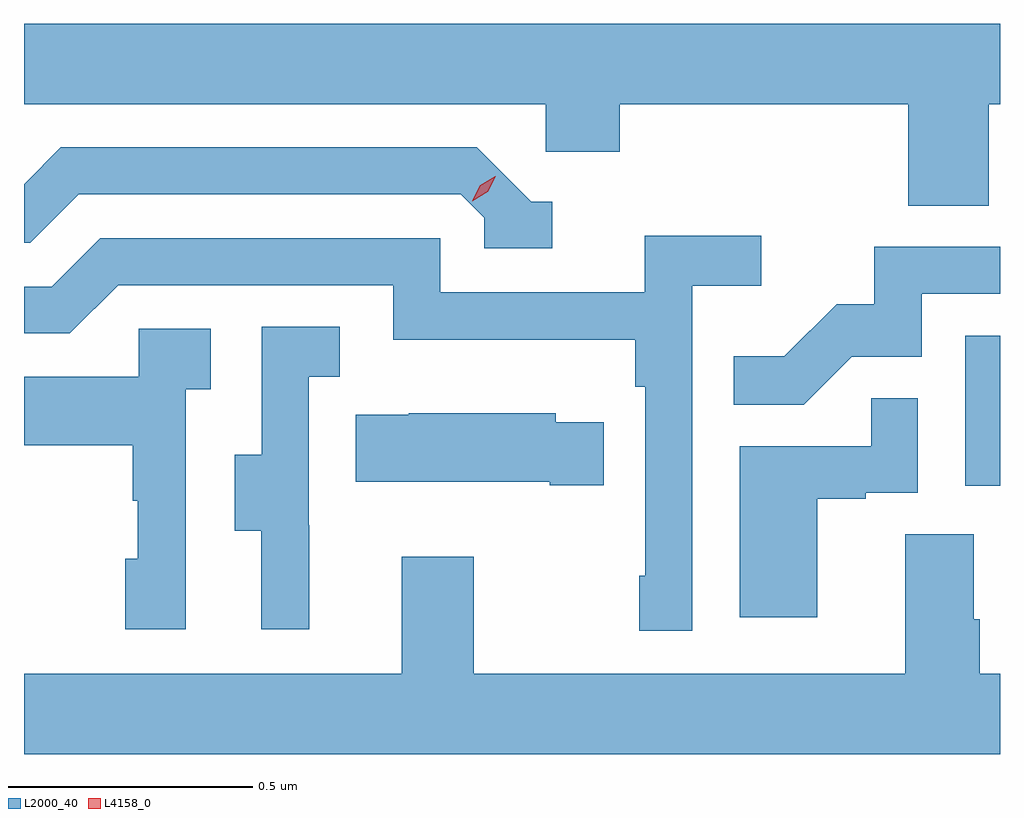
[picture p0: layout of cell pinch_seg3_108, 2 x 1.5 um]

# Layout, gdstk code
import gdstk
lib = gdstk.Library(unit=1e-6, precision=1e-09)
def R(c, l, rs):  # rectangles x0, y0, x1, y1
    for r in rs: c.add(gdstk.rectangle(r[:2], r[2:], *l))
def P(c, l, *ps):  # polygons
    for p in ps: c.add(gdstk.Polygon(p, *l))
L2000_40 = (2000, 40)
L4158_0 = (4158, 0)

pinch_seg3_108 = lib.new_cell('pinch_seg3_108')
R(pinch_seg3_108, L2000_40, [(1031.384,724.11,1031.455,724.417)])
P(pinch_seg3_108, L2000_40, [(1031.432,724.892),(1031.455,724.892),(1031.455,725.056),(1029.455,725.056),(1029.455,724.892),(1030.524,724.892),(1030.524,724.794),(1030.676,724.794),(1030.676,724.892),(1031.267,724.892),(1031.267,724.684),(1031.432,724.684)],
  [(1030.537,724.692),(1030.494,724.692),(1030.383,724.803),(1029.53,724.803),(1029.455,724.728),(1029.455,724.608),(1029.468,724.608),(1029.567,724.707),(1030.35,724.707),(1030.398,724.659),(1030.398,724.596),(1030.537,724.596)],
  [(1030.824,724.52),(1030.966,724.52),(1030.966,724.622),(1030.727,724.622),(1030.727,724.506),(1030.308,724.506),(1030.308,724.617),(1029.611,724.617),(1029.512,724.518),(1029.455,724.518),(1029.455,724.422),(1029.549,724.422),(1029.648,724.521),(1030.212,724.521),(1030.212,724.409),(1030.708,724.409),(1030.708,724.313),(1030.728,724.313),(1030.728,723.925),(1030.716,723.925),(1030.716,723.813),(1030.824,723.813)],
  [(1031.151,724.374),(1031.295,724.374),(1031.295,724.503),(1031.455,724.503),(1031.455,724.599),(1031.197,724.599),(1031.197,724.482),(1031.12,724.482),(1031.013,724.375),(1030.909,724.375),(1030.909,724.276),(1031.053,724.276)],
  [(1030.04,724.029),(1030.038,724.029),(1030.038,724.333),(1030.102,724.333),(1030.102,724.436),(1029.942,724.436),(1029.942,724.173),(1029.887,724.173),(1029.887,724.018),(1029.941,724.018),(1029.941,723.816),(1030.04,723.816)],
  [(1029.786,724.307),(1029.838,724.307),(1029.838,724.431),(1029.69,724.431),(1029.69,724.333),(1029.455,724.333),(1029.455,724.193),(1029.678,724.193),(1029.678,724.079),(1029.688,724.079),(1029.688,723.96),(1029.662,723.96),(1029.662,723.816),(1029.786,723.816)],
  [(1031.08,724.083),(1031.18,724.083),(1031.18,724.095),(1031.286,724.095),(1031.286,724.289),(1031.191,724.289),(1031.191,724.191),(1030.922,724.191),(1030.922,723.84),(1031.08,723.84)],
  [(1030.643,724.24),(1030.545,724.24),(1030.545,724.258),(1030.243,724.258),(1030.243,724.255),(1030.135,724.255),(1030.135,724.118),(1030.532,724.118),(1030.532,724.111),(1030.643,724.111)],
  [(1031.455,723.724),(1031.414,723.724),(1031.414,723.836),(1031.401,723.836),(1031.401,724.01),(1031.261,724.01),(1031.261,723.724),(1030.377,723.724),(1030.377,723.964),(1030.229,723.964),(1030.229,723.724),(1029.455,723.724),(1029.455,723.56),(1031.455,723.56)])
P(pinch_seg3_108, L4158_0, [(1030.374,724.693),(1030.374,724.694),(1030.39,724.726),(1030.421,724.744),(1030.422,724.744),(1030.422,724.744),(1030.405,724.712),(1030.374,724.693)])

lib.write_gds('pinch_seg3_108.gds')
